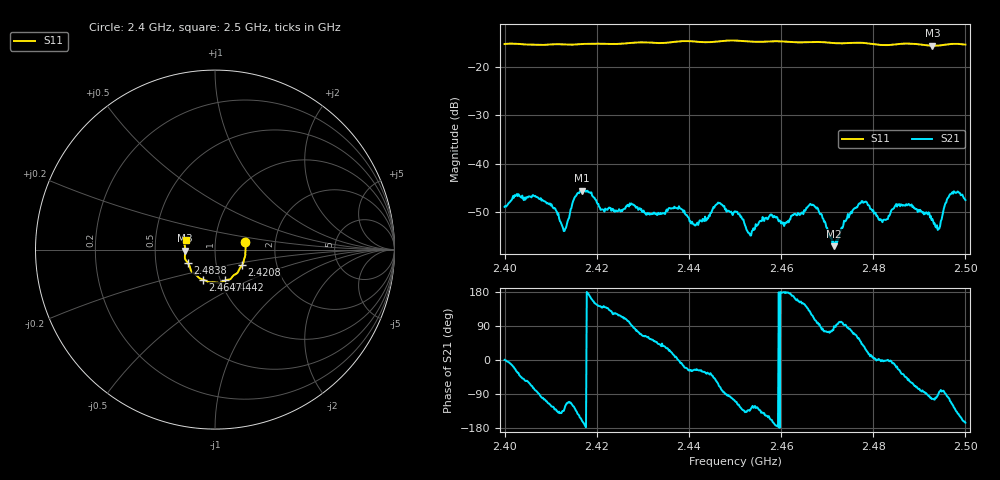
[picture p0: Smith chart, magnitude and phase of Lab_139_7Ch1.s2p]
# Hz S RI R
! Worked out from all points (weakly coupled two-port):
!   601 points, 2.4 GHz to 2.5 GHz, reference 50 ohm
!   highest |S21| = -45.57 dB at 2.4168 GHz (marker M1); lowest = -57.1 dB at 2.4715 GHz (marker M2)
!   lowest |S11| = -15.6 dB at 2.4928 GHz (marker M3), VSWR 1.40, Z = 35.8 - j0.37 ohm
!   |S11| at or under -10 dB: start of sweep to end of sweep
!   S12 and S22 are empty: the file has one direction only
!   S11 on the Smith chart (normalised r, x): 2.4 GHz: 1.40, +0.12; 2.4208 GHz: 1.33, -0.24; 2.4442 GHz: 1.05, -0.37; 2.4647 GHz: 0.83, -0.29; 2.4838 GHz: 0.73, -0.11; 2.5 GHz: 0.72, +0.08
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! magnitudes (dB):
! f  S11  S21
! 2.4 GHz  -15.2  -48.9
! 2.4067 GHz  -15.4  -46.6
! 2.413 GHz  -15.3  -53.9
! 2.4167 GHz  -15.2  -45.7
! 2.4168 GHz  -15.2  -45.6
! 2.4208 GHz  -15.2  -49.5
! 2.4333 GHz  -15.0  -50.2
! 2.4442 GHz  -14.9  -51.3
! 2.4463 GHz  -14.7  -48.0
! 2.45 GHz  -14.5  -49.8
! 2.4532 GHz  -14.7  -54.5
! 2.4647 GHz  -14.9  -50.1
! 2.4667 GHz  -14.8  -48.6
! 2.4715 GHz  -15.0  -57.1
! 2.4773 GHz  -15.0  -48.0
! 2.4833 GHz  -15.5  -50.8
! 2.4838 GHz  -15.4  -49.9
! 2.4878 GHz  -15.2  -48.5
! 2.4928 GHz  -15.6  -51.4
! 2.4942 GHz  -15.6  -53.5
! 2.4972 GHz  -15.2  -45.9
! 2.5 GHz  -15.4  -47.5
